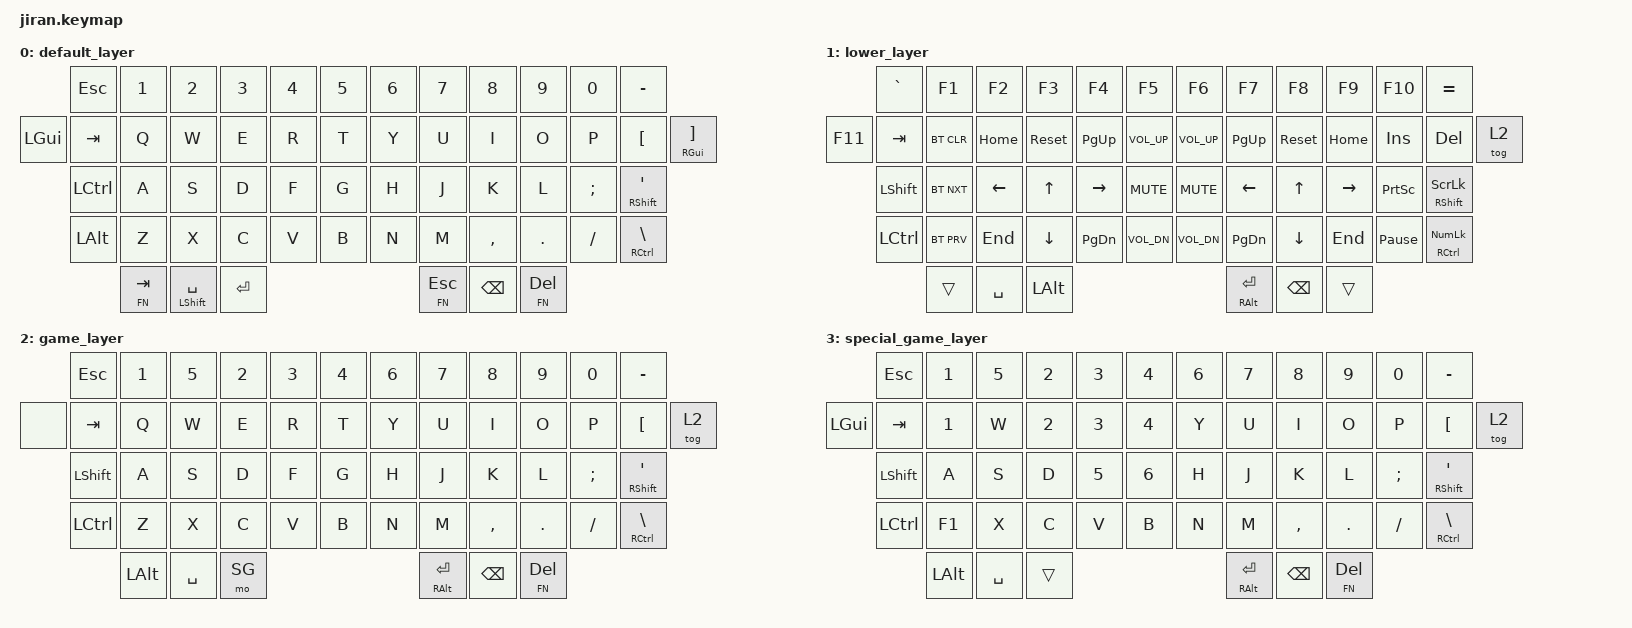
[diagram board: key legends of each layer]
/*
 * Copyright (c) 2021 The ZMK Contributors
 *
 * SPDX-License-Identifier: MIT
 */

#include <behaviors.dtsi>
#include <dt-bindings/zmk/keys.h>
#include <dt-bindings/zmk/bt.h>

#define DEF 0
#define FN 1
#define GAME 2
#define SG 3

/ {
        keymap {
                compatible = "zmk,keymap";

                default_layer {
                        bindings = <
           &kp ESC    &kp N1 &kp N2 &kp N3 &kp N4 &kp N5    &kp N6 &kp N7  &kp N8    &kp N9  &kp N0   &kp MINUS
  &kp LGUI &kp TAB    &kp Q  &kp W  &kp E  &kp R  &kp T     &kp Y  &kp U   &kp I     &kp O   &kp P    &kp LBKT      &mt RGUI RBKT
           &kp LCTRL  &kp A  &kp S  &kp D  &kp F  &kp G     &kp H  &kp J   &kp K     &kp L   &kp SEMI &mt RSHIFT SQT
           &kp LALT   &kp Z  &kp X  &kp C  &kp V  &kp B     &kp N  &kp M   &kp COMMA &kp DOT &kp FSLH &mt RCTRL BSLH
                        &lt FN TAB &mt LSHFT SPACE  &kp RET  &lt FN ESC &kp BSPC &lt FN DEL
                        >;
                };

                lower_layer {
                       bindings = <
          &kp GRAVE   &kp F1      &kp F2   &kp F3   &kp F4    &kp F5        &kp F6       &kp F7    &kp F8   &kp F9    &kp F10         &kp EQUAL
 &kp F11  &kp TAB     &bt BT_CLR  &kp HOME &sys_reset   &kp PG_UP &kp C_VOL_UP  &kp C_VOL_UP &kp PG_UP &sys_reset   &kp HOME  &kp INS         &kp DEL       &tog 2
          &kp LSHIFT  &bt BT_NXT  &kp LEFT &kp UP   &kp RIGHT &kp C_MUTE    &kp C_MUTE   &kp LEFT  &kp UP   &kp RIGHT &kp PSCRN       &mt RSHIFT SLCK
          &kp LCTRL   &bt BT_PRV  &kp END  &kp DOWN &kp PG_DN &kp C_VOL_DN  &kp C_VOL_DN &kp PG_DN &kp DOWN &kp END   &kp PAUSE_BREAK &mt RCTRL KP_NUM
                                         &trans   &kp SPACE   &kp LALT      &mt RALT RET &kp BSPC  &trans
                       >;
               };

               game_layer {
                        bindings = <
           &kp ESC    &kp N1 &kp N5 &kp N2 &kp N3 &kp N4        &kp N6 &kp N7  &kp N8    &kp N9  &kp N0   &kp MINUS
  &none &kp TAB    &kp Q  &kp W  &kp E  &kp R  &kp T         &kp Y  &kp U   &kp I     &kp O   &kp P    &kp LBKT      &tog 2
           &kp LSHIFT  &kp A  &kp S  &kp D  &kp F  &kp G        &kp H  &kp J   &kp K     &kp L   &kp SEMI &mt RSHIFT SQT
           &kp LCTRL   &kp Z  &kp X  &kp C  &kp V  &kp B        &kp N  &kp M   &kp COMMA &kp DOT &kp FSLH &mt RCTRL BSLH
                        &kp LALT &kp SPACE  &mo SG              &mt RALT RET &kp BSPC &lt FN DEL
                        >;
               };

                special_game_layer {
                        bindings = <
           &kp ESC     &kp N1 &kp N5 &kp N2 &kp N3 &kp N4         &kp N6 &kp N7  &kp N8    &kp N9  &kp N0   &kp MINUS
   &kp LGUI &kp TAB    &kp N1  &kp W  &kp N2  &kp N3  &kp N4     &kp Y  &kp U   &kp I     &kp O   &kp P    &kp LBKT      &tog 2
           &kp LSHIFT  &kp A  &kp S  &kp D  &kp N5  &kp N6          &kp H  &kp J   &kp K     &kp L   &kp SEMI &mt RSHIFT SQT
           &kp LCTRL   &kp F1  &kp X  &kp C  &kp V  &kp B          &kp N  &kp M   &kp COMMA &kp DOT &kp FSLH &mt RCTRL BSLH
                        &kp LALT &kp SPACE  &trans                &mt RALT RET &kp BSPC &lt FN DEL
                        >;
                        
               };
        };
};
